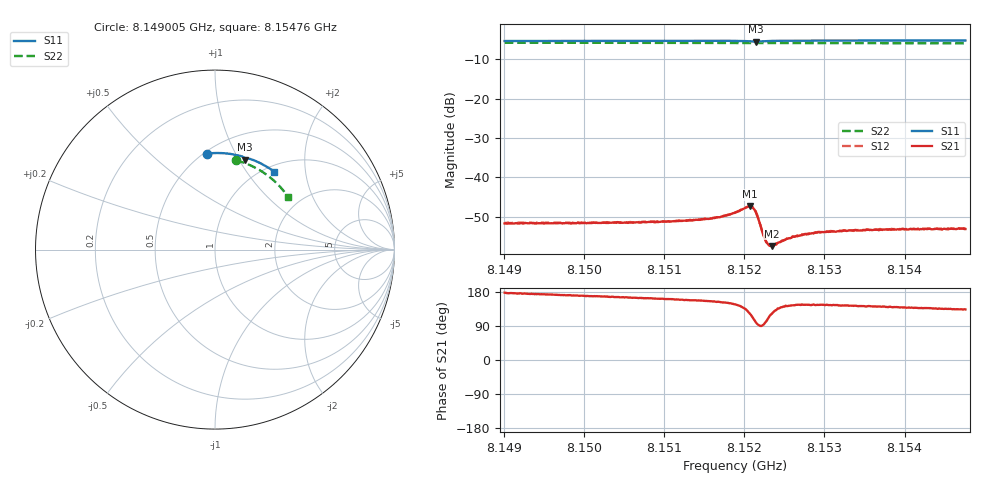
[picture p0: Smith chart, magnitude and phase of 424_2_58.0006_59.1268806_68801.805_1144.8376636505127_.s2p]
#  HZ  S  RI  R  50.00
! Rohde & Schwarz Vector Network Analyzer
! Rohde-Schwarz,ZNB20-2Port,1311601062101988,3.16
! Created: UTC 3/21/2024, 1:09:16 AM
! freq[Hz]  re:S11  im:S11  re:S21  im:S21  re:S12  im:S12  re:S22  im:S22
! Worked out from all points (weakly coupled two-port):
!   401 points, 8.149005 GHz to 8.15476 GHz, reference 50 ohm
!   highest |S21| = -47.32 dB at 8.15207 GHz (marker M1); lowest = -57.4 dB at 8.152343 GHz (marker M2)
!   lowest |S11| = -5.5 dB at 8.152142 GHz (marker M3), VSWR 3.24, Z = 38.1 + j52.9 ohm
!   |S11| at or under -10 dB: nowhere
!   |S22| runs from -6.0 to -5.8 dB; largest |S21 - S12| = 0.0001
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8.1490055e9  -0.044 0.5351  -0.00261 0.000106  -0.00267 0.000181  0.1171 0.4972
8.1499694e9  0.0233 0.5381  -0.0026 0.000464  -0.00263 0.00055  0.1764 0.4782
8.1509332e9  0.0902 0.5324  -0.00259 0.000863  -0.00262 0.000887  0.2324 0.4521
8.1511346e9  0.1043 0.5302  -0.00261 0.000985  -0.00261 0.00101  0.2436 0.4456
8.1515662e9  0.1345 0.5239  -0.00271 0.00127  -0.00276 0.0013  0.2671 0.4312
8.151782e9  0.1501 0.5191  -0.00288 0.00162  -0.0029 0.00167  0.2786 0.4234
8.1518827e9  0.1577 0.5159  -0.00299 0.00196  -0.00297 0.00203  0.2839 0.4198
8.1520266e9  0.1676 0.5077  -0.00282 0.00311  -0.00278 0.00317  0.291 0.4142
8.1520697e9  0.1687 0.5041  -0.00229 0.00365  -0.00225 0.00368  0.2933 0.4126
8.1521129e9  0.1673 0.5013  -0.00134 0.00381  -0.00127 0.00388  0.2952 0.411
8.1521417e9  0.1657 0.5012  -0.000619 0.0036  -0.000605 0.00367  0.2965 0.4098
8.1521704e9  0.1648 0.5028  -0.000173 0.00306  -0.000135 0.00308  0.2978 0.4088
8.152228e9  0.1669 0.5067  -7.04e-05 0.00196  -5.67e-05 0.00199  0.3009 0.4068
8.1522567e9  0.1693 0.5078  -0.000231 0.00164  -0.000205 0.00166  0.3024 0.4057
8.1522999e9  0.1729 0.5088  -0.000498 0.00131  -0.000467 0.00135  0.3045 0.4041
8.1523431e9  0.1769 0.5089  -0.000713 0.00115  -0.000717 0.00117  0.3068 0.4025
8.1525876e9  0.196 0.5048  -0.0014 0.00101  -0.00139 0.00103  0.3189 0.3926
8.1527603e9  0.2081 0.5008  -0.00159 0.00109  -0.00154 0.00111  0.327 0.3852
8.1528466e9  0.214 0.4987  -0.00163 0.00111  -0.00163 0.00113  0.3311 0.3815
8.1532638e9  0.2411 0.4871  -0.00171 0.00124  -0.0017 0.00128  0.3501 0.3633
8.1538104e9  0.2748 0.4697  -0.00171 0.00141  -0.00167 0.00144  0.3734 0.3382
8.1547599e9  0.3303 0.4344  -0.00153 0.00161  -0.00153 0.00164  0.4094 0.2907
